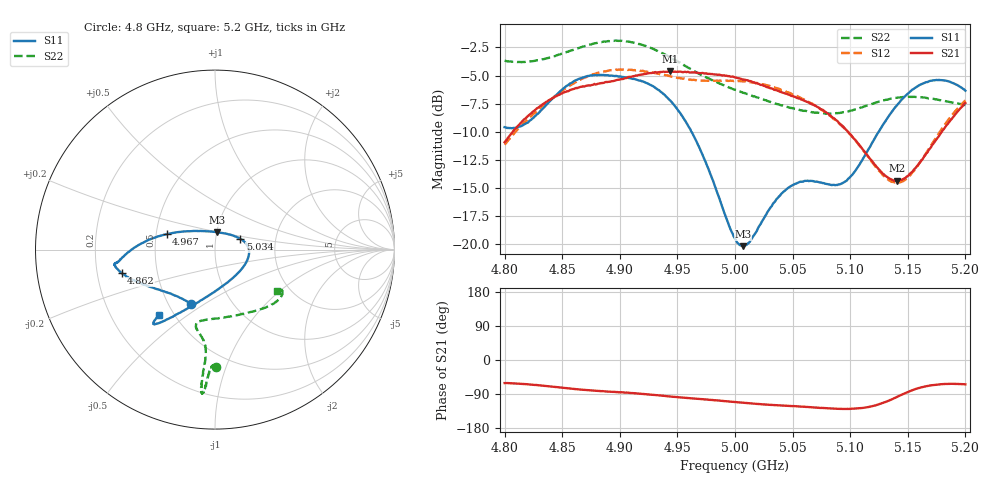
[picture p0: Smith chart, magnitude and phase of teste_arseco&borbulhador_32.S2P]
! Network Analyzer HP8722D
! Hewlett-Packard
! Data name: Linha & Wilkinson
! Saver's name: Rodrigo Anjos
! Comments: Teste da utilização de aquisição
! continua pelo VNA HP8722D
! Time and date: 15/4/2025 15:54
!  Frequency  S11  S21  S12  S22
# HZ  S  MA R 50
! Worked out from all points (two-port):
!   401 points, 4.8 GHz to 5.2 GHz, reference 50 ohm
!   highest |S21| = -4.63 dB at 4.944 GHz (marker M1); lowest = -14.4 dB at 5.141 GHz (marker M2)
!   |S21| within 3 dB of the highest: 4.832 GHz to 5.069 GHz (236.6 MHz wide, 4.78 % of centre); 5.198275 GHz to end of sweep
!   lowest |S11| = -20.2 dB at 5.007 GHz (marker M3), VSWR 1.22, Z = 50.4 + j9.85 ohm
!   |S11| at or under -10 dB: 4.962 GHz to 5.125 GHz (162.7 MHz wide, 3.23 % of centre)
!   |S22| runs from -8.4 to -1.9 dB; largest |S21 - S12| = 0.88
!   S11 on the Smith chart (normalised r, x): 4.8 GHz: 0.65, -0.44; 4.862 GHz: 0.31, -0.11; 4.967 GHz: 0.57, +0.11; 5.034 GHz: 1.32, +0.16; 5.2 GHz: 0.41, -0.39
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4.8e9  0.3312 -114.0  0.2839 -60.9  0.2769 -175.3  0.6551 -89.6
4.819e9  0.3456 -133.8  0.3661 -63.9  0.3537 -173.5  0.649 -91.2
4.862e9  0.5369 -165.9  0.4952 -76.8  0.5262 -176.7  0.7409 -93.6
4.867e9  0.5494 -167.9  0.5011 -78.4  0.5436 -177.6  0.7537 -93.7
4.899e9  0.5567 -172.4  0.5384 -85.1  0.5985 175.7  0.802 -95.2
4.934e9  0.4841 -178.3  0.5815 -93.6  0.5737 171.9  0.7184 -95.7
4.944e9  0.4342 177.2  0.5865 -96.4  0.5584 171.9  0.6762 -95.4
4.967e9  0.2831 162.2  0.5789 -102.2  0.5342 173.9  0.5786 -95.0
5e9  0.1058 106.0  0.5517 -111.0  0.534 176.4  0.4865 -99.3
5.007e9  0.09776 82.3  0.5398 -113.0  0.5291 176.3  0.4709 -100.9
5.014e9  0.1044 60.1  0.53 -114.7  0.5257 176.1  0.4587 -102.5
5.034e9  0.1532 23.2  0.4857 -119.2  0.499 175.1  0.4232 -104.0
5.05e9  0.1828 6.4  0.4558 -121.7  0.4628 174.4  0.4025 -100.3
5.067e9  0.1907 -11.9  0.4181 -124.9  0.4223 173.8  0.3856 -91.8
5.086e9  0.1833 -42.3  0.3629 -128.5  0.3591 173.7  0.3821 -77.6
5.097e9  0.1915 -65.4  0.3204 -129.1  0.3186 174.3  0.388 -68.4
5.134e9  0.3743 -116.5  0.1956 -106.6  0.1916 -159.4  0.4421 -43.4
5.141e9  0.4172 -120.4  0.1911 -96.7  0.1874 -148.4  0.4479 -40.2
5.153e9  0.4821 -125.2  0.208 -80.8  0.205 -129.8  0.4519 -36.0
5.17e9  0.5332 -128.8  0.2688 -66.9  0.2739 -113.1  0.4444 -32.1
5.184e9  0.532 -130.2  0.3398 -63.2  0.3503 -107.3  0.4315 -31.1
5.2e9  0.4816 -130.6  0.4243 -64.2  0.4362 -106.2  0.4152 -33.5
